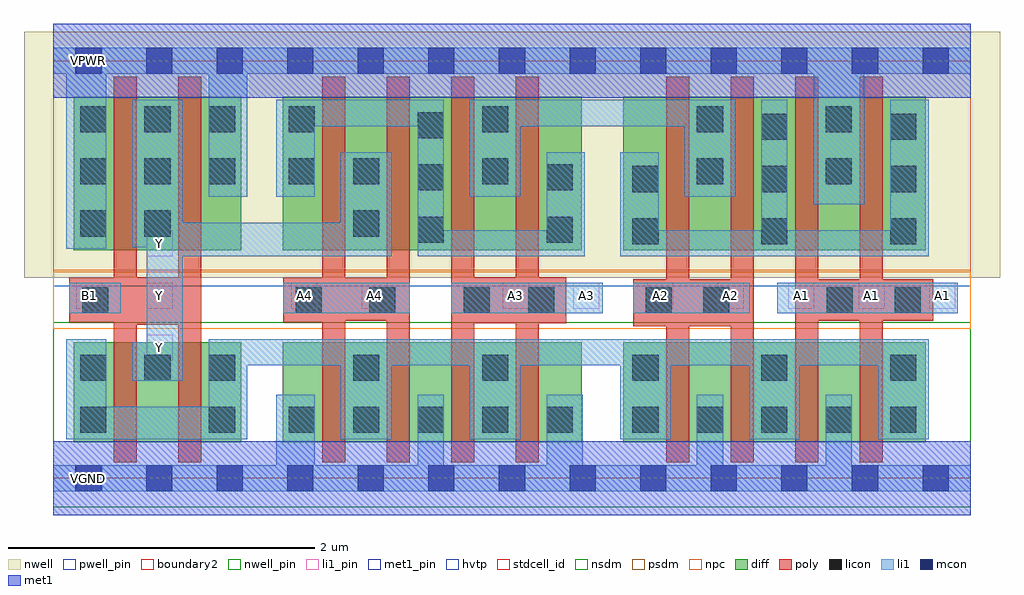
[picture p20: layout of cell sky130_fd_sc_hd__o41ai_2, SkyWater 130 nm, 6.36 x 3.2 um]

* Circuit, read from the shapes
.subckt sky130_fd_sc_hd__o41ai_2 A1 A2 A3 A4 B1 VGND VNB VPB VPWR Y
XM1 Y B1 n1 VNB sky130_fd_pr__nfet_01v8 w=0.65 l=0.15 m=2
XM2 n1 A4 VGND VNB sky130_fd_pr__nfet_01v8 w=0.65 l=0.15 m=2
XM3 n1 A3 VGND VNB sky130_fd_pr__nfet_01v8 w=0.65 l=0.15 m=2
XM4 VGND A2 n1 VNB sky130_fd_pr__nfet_01v8 w=0.65 l=0.15 m=2
XM5 VGND A1 n1 VNB sky130_fd_pr__nfet_01v8 w=0.65 l=0.15 m=2
XM6 Y B1 VPWR VPB sky130_fd_pr__pfet_01v8_hvt w=1 l=0.15 m=2
XM7 Y A4 n2 VPB sky130_fd_pr__pfet_01v8_hvt w=1 l=0.15 m=2
XM8 n3 A3 n2 VPB sky130_fd_pr__pfet_01v8_hvt w=1 l=0.15 m=2
XM9 n3 A2 n4 VPB sky130_fd_pr__pfet_01v8_hvt w=1 l=0.15 m=2
XM10 VPWR A1 n4 VPB sky130_fd_pr__pfet_01v8_hvt w=1 l=0.15 m=2
.ends

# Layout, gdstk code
import gdstk
lib = gdstk.Library(unit=1e-6, precision=1e-09)
def R(c, l, rs):  # rectangles x0, y0, x1, y1
    for r in rs: c.add(gdstk.rectangle(r[:2], r[2:], *l))
def A(c, l, x, y, w, h, nx, ny, dx, dy):  # array of equal rectangles
    R(c, l, [(x+i*dx, y+j*dy, x+i*dx+w, y+j*dy+h) for i in range(nx) for j in range(ny)])
def P(c, l, *ps):  # polygons
    for p in ps: c.add(gdstk.Polygon(p, *l))
nwell_pin = (64, 16)
nwell = (64, 20)
diff = (65, 20)
poly = (66, 20)
licon = (66, 44)
li1_pin = (67, 16)
li1 = (67, 20)
mcon = (67, 44)
met1_pin = (68, 16)
met1 = (68, 20)
hvtp = (78, 44)
stdcell_id = (81, 4)
nsdm = (93, 44)
psdm = (94, 20)
npc = (95, 20)
pwell_pin = (122, 16)
boundary2 = (236, 0)

sky130_fd_sc_hd__o41ai_2 = lib.new_cell('sky130_fd_sc_hd__o41ai_2')
R(sky130_fd_sc_hd__o41ai_2, nwell_pin, [(0.15,2.635,0.32,2.805)])
R(sky130_fd_sc_hd__o41ai_2, nwell, [(-0.19,1.305,6.17,2.91)])
R(sky130_fd_sc_hd__o41ai_2, diff, [(0.135,0.235,1.225,0.885), (1.495,0.235,3.445,0.885), (3.715,0.235,5.685,0.885), (0.135,1.485,1.225,2.485), (1.495,1.485,3.445,2.485), (3.715,1.485,5.685,2.485)])
R(sky130_fd_sc_hd__o41ai_2, poly, [(0.105,1.015,0.395,1.025), (0.105,1.295,0.395,1.305)])
P(sky130_fd_sc_hd__o41ai_2, poly, [(3.995,0.105),(3.995,0.99),(3.78,0.99),(3.78,1.295),(3.995,1.295),(3.995,2.615),(4.145,2.615),(4.145,1.295),(4.415,1.295),(4.415,2.615),(4.565,2.615),(4.565,0.105),(4.415,0.105),(4.415,0.99),(4.145,0.99),(4.145,0.105)],
  [(2.595,0.105),(2.595,2.615),(2.745,2.615),(2.745,1.31),(3.015,1.31),(3.015,2.615),(3.165,2.615),(3.165,1.31),(3.345,1.31),(3.345,1.01),(3.165,1.01),(3.165,0.105),(3.015,0.105),(3.015,1.01),(2.745,1.01),(2.745,0.105)],
  [(1.755,0.105),(1.755,1.015),(1.5,1.015),(1.5,1.305),(1.755,1.305),(1.755,2.615),(1.905,2.615),(1.905,1.305),(2.175,1.305),(2.175,2.615),(2.325,2.615),(2.325,0.105),(2.175,0.105),(2.175,1.025),(1.905,1.025),(1.905,0.105)],
  [(0.395,0.105),(0.395,1.025),(0.105,1.025),(0.105,1.295),(0.395,1.295),(0.395,2.615),(0.545,2.615),(0.545,1.31),(0.815,1.31),(0.815,2.615),(0.965,2.615),(0.965,0.105),(0.815,0.105),(0.815,1),(0.545,1),(0.545,0.105)],
  [(4.835,0.105),(4.835,2.615),(4.985,2.615),(4.985,1.295),(5.255,1.295),(5.255,2.615),(5.405,2.615),(5.405,1.295),(5.735,1.295),(5.735,1.025),(5.405,1.025),(5.405,0.105),(5.255,0.105),(5.255,1.025),(4.985,1.025),(4.985,0.105)])
A(sky130_fd_sc_hd__o41ai_2, licon, 1.535, 0.295, 0.17, 0.17, 5, 1, 0.42, 0)
A(sky130_fd_sc_hd__o41ai_2, licon, 3.775, 0.295, 0.17, 0.17, 5, 1, 0.42, 0)
A(sky130_fd_sc_hd__o41ai_2, licon, 0.175, 0.635, 0.17, 0.17, 3, 2, 0.42, 1.28)
A(sky130_fd_sc_hd__o41ai_2, licon, 3.775, 0.635, 0.17, 0.17, 3, 2, 0.84, 0.89)
A(sky130_fd_sc_hd__o41ai_2, licon, 2.375, 1.535, 0.17, 0.17, 1, 3, 0, 0.34)
A(sky130_fd_sc_hd__o41ai_2, licon, 3.775, 1.865, 0.17, 0.17, 3, 1, 0.84, 0)
A(sky130_fd_sc_hd__o41ai_2, licon, 0.175, 2.255, 0.17, 0.17, 3, 1, 0.42, 0)
R(sky130_fd_sc_hd__o41ai_2, licon, [(0.175,0.295,0.345,0.465), (1.015,0.295,1.185,0.465), (1.955,0.635,2.125,0.805), (2.795,0.635,2.965,0.805), (0.19,1.075,0.36,1.245), (1.58,1.075,1.75,1.245), (2.06,1.075,2.23,1.245), (2.675,1.075,2.845,1.245), (3.095,1.075,3.265,1.245), (3.86,1.075,4.03,1.245), (4.235,1.075,4.405,1.245), (5.04,1.075,5.21,1.245), (5.485,1.075,5.655,1.245), (3.215,1.535,3.385,1.705), (0.175,1.575,0.345,1.745), (0.595,1.575,0.765,1.745), (1.955,1.575,2.125,1.745), (3.215,1.875,3.385,2.045), (1.535,1.915,1.705,2.085), (1.955,1.915,2.125,2.085), (2.795,1.915,2.965,2.085), (4.195,1.915,4.365,2.085), (5.035,1.915,5.205,2.085), (4.615,2.205,4.785,2.375), (5.455,2.205,5.625,2.375), (1.535,2.255,1.705,2.425), (2.795,2.255,2.965,2.425), (4.195,2.255,4.365,2.425), (5.035,2.255,5.205,2.425)])
A(sky130_fd_sc_hd__o41ai_2, li1_pin, 0.61, 0.765, 0.17, 0.17, 1, 3, 0, 0.34)
A(sky130_fd_sc_hd__o41ai_2, li1_pin, 3.87, 1.105, 0.17, 0.17, 5, 1, 0.46, 0)
R(sky130_fd_sc_hd__o41ai_2, li1_pin, [(0.15,1.105,0.32,1.275), (1.55,1.105,1.72,1.275), (2.01,1.105,2.18,1.275), (2.93,1.105,3.1,1.275), (3.39,1.105,3.56,1.275)])
R(sky130_fd_sc_hd__o41ai_2, li1, [(0.105,1.075,0.44,1.275), (1.5,1.075,2.325,1.275), (2.595,1.075,3.58,1.275), (3.78,1.075,4.54,1.275), (4.72,1.075,5.895,1.275)])
P(sky130_fd_sc_hd__o41ai_2, li1, [(0.085,0.255),(0.085,0.905),(0.345,0.905),(0.345,0.465),(1.015,0.465),(1.015,0.905),(5.705,0.905),(5.705,0.255),(5.375,0.255),(5.375,0.735),(4.865,0.735),(4.865,0.255),(4.535,0.255),(4.535,0.735),(4.025,0.735),(4.025,0.255),(3.695,0.255),(3.695,0.735),(3.045,0.735),(3.045,0.255),(2.715,0.255),(2.715,0.735),(2.205,0.735),(2.205,0.255),(1.875,0.255),(1.875,0.735),(1.265,0.735),(1.265,0.255)],
  [(3.695,1.445),(3.695,2.125),(3.945,2.125),(3.945,1.615),(4.615,1.615),(4.615,2.465),(4.785,2.465),(4.785,1.615),(5.455,1.615),(5.455,2.465),(5.705,2.465),(5.705,1.445)],
  [(2.375,1.445),(2.375,2.295),(1.705,2.295),(1.705,1.835),(1.455,1.835),(1.455,2.465),(2.545,2.465),(2.545,1.615),(3.215,1.615),(3.215,2.125),(3.465,2.125),(3.465,1.445)],
  [(0.085,1.495),(0.085,2.635),(0,2.635),(0,2.805),(5.98,2.805),(5.98,2.635),(5.285,2.635),(5.285,1.785),(4.955,1.785),(4.955,2.635),(1.265,2.635),(1.265,1.835),(1.015,1.835),(1.015,2.635),(0.345,2.635),(0.345,1.495)],
  [(2.715,1.835),(2.715,2.465),(4.445,2.465),(4.445,1.835),(4.115,1.835),(4.115,2.295),(3.045,2.295),(3.045,1.835)],
  [(0.515,0.635),(0.515,0.885),(0.61,0.885),(0.61,1.505),(0.515,1.505),(0.515,2.465),(0.845,2.465),(0.845,1.665),(1.875,1.665),(1.875,2.125),(2.205,2.125),(2.205,1.445),(0.845,1.445),(0.845,0.635)],
  [(0,-0.085),(0,0.085),(1.455,0.085),(1.455,0.545),(1.705,0.545),(1.705,0.085),(2.375,0.085),(2.375,0.545),(2.545,0.545),(2.545,0.085),(3.215,0.085),(3.215,0.545),(3.45,0.545),(3.45,0.085),(4.195,0.085),(4.195,0.545),(4.365,0.545),(4.365,0.085),(5.035,0.085),(5.035,0.545),(5.205,0.545),(5.205,0.085),(5.98,0.085),(5.98,-0.085)])
A(sky130_fd_sc_hd__o41ai_2, mcon, 0.145, -0.085, 0.17, 0.17, 13, 2, 0.46, 2.72)
R(sky130_fd_sc_hd__o41ai_2, met1_pin, [(0.15,-0.085,0.32,0.085), (0.15,2.635,0.32,2.805)])
R(sky130_fd_sc_hd__o41ai_2, hvtp, [(0,1.25,5.98,2.72)])
R(sky130_fd_sc_hd__o41ai_2, stdcell_id, [(0,0,5.98,2.72)])
R(sky130_fd_sc_hd__o41ai_2, nsdm, [(0,-0.19,5.98,1.015)])
R(sky130_fd_sc_hd__o41ai_2, psdm, [(0,1.355,5.98,2.91)])
R(sky130_fd_sc_hd__o41ai_2, npc, [(0,0.975,5.98,1.345)])
R(sky130_fd_sc_hd__o41ai_2, pwell_pin, [(0.15,-0.085,0.32,0.085)])
R(sky130_fd_sc_hd__o41ai_2, boundary2, [(0,0,5.98,2.72)])
sky130_fd_sc_hd__o41ai_2.add(gdstk.FlexPath([(0,0),(5.98,0)], 0.48, ends="flush", simple_path=True, layer=68, datatype=20))  # met1
sky130_fd_sc_hd__o41ai_2.add(gdstk.FlexPath([(0,2.72),(5.98,2.72)], 0.48, ends="flush", simple_path=True, layer=68, datatype=20))  # met1
sky130_fd_sc_hd__o41ai_2.add(gdstk.Label('VPWR', (0.23,2.72), layer=68, texttype=5))
sky130_fd_sc_hd__o41ai_2.add(gdstk.Label('VGND', (0.23,0), layer=68, texttype=5))
sky130_fd_sc_hd__o41ai_2.add(gdstk.Label('VPB', (0.23,2.72), layer=64, texttype=5))
sky130_fd_sc_hd__o41ai_2.add(gdstk.Label('VNB', (0.23,0), layer=64, texttype=59))
sky130_fd_sc_hd__o41ai_2.add(gdstk.Label('o41ai_2', (0,0), layer=83, texttype=44))
sky130_fd_sc_hd__o41ai_2.add(gdstk.Label('B1', (0.235,1.19), layer=67, texttype=5))
sky130_fd_sc_hd__o41ai_2.add(gdstk.Label('Y', (0.695,0.85), layer=67, texttype=5))
sky130_fd_sc_hd__o41ai_2.add(gdstk.Label('Y', (0.695,1.19), layer=67, texttype=5))
sky130_fd_sc_hd__o41ai_2.add(gdstk.Label('Y', (0.695,1.53), layer=67, texttype=5))
sky130_fd_sc_hd__o41ai_2.add(gdstk.Label('A4', (1.635,1.19), layer=67, texttype=5))
sky130_fd_sc_hd__o41ai_2.add(gdstk.Label('A4', (2.095,1.19), layer=67, texttype=5))
sky130_fd_sc_hd__o41ai_2.add(gdstk.Label('A3', (3.015,1.19), layer=67, texttype=5))
sky130_fd_sc_hd__o41ai_2.add(gdstk.Label('A3', (3.475,1.19), layer=67, texttype=5))
sky130_fd_sc_hd__o41ai_2.add(gdstk.Label('A2', (3.955,1.19), layer=67, texttype=5))
sky130_fd_sc_hd__o41ai_2.add(gdstk.Label('A2', (4.415,1.19), layer=67, texttype=5))
sky130_fd_sc_hd__o41ai_2.add(gdstk.Label('A1', (4.875,1.19), layer=67, texttype=5))
sky130_fd_sc_hd__o41ai_2.add(gdstk.Label('A1', (5.335,1.19), layer=67, texttype=5))
sky130_fd_sc_hd__o41ai_2.add(gdstk.Label('A1', (5.795,1.19), layer=67, texttype=5))

lib.write_gds('sky130_fd_sc_hd__o41ai_2.gds')
